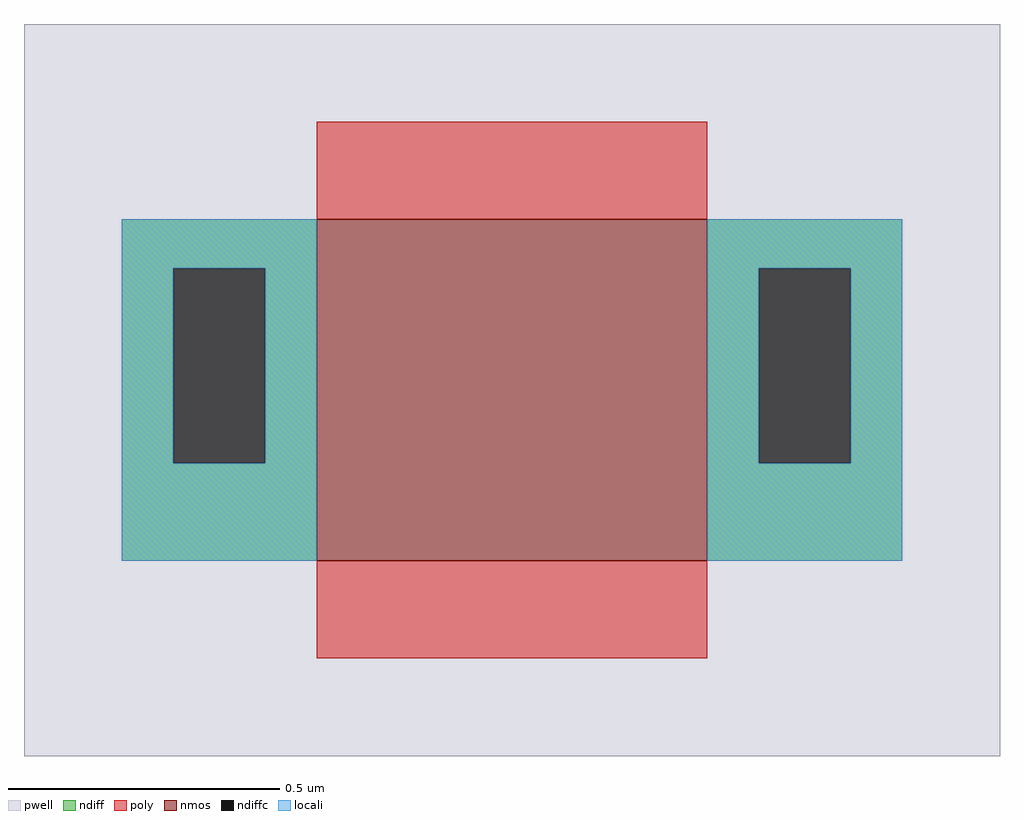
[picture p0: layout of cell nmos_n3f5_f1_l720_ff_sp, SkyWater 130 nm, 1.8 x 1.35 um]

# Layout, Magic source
magic
tech sky130A
magscale 1 2
<< pwell >>
rect -72 -72 288 198
<< nmos >>
rect 36 0 180 126
<< ndiff >>
rect -36 108 36 126
rect -36 36 -17 108
rect 17 36 36 108
rect -36 0 36 36
rect 180 108 252 126
rect 180 36 199 108
rect 233 36 252 108
rect 180 0 252 36
<< ndiffc >>
rect -17 36 17 108
rect 199 36 233 108
<< poly >>
rect 36 126 180 162
rect 36 -36 180 0
<< locali >>
rect -36 108 36 126
rect -36 36 -17 108
rect 17 36 36 108
rect -36 0 36 36
rect 180 108 252 126
rect 180 36 199 108
rect 233 36 252 108
rect 180 0 252 36
<< end >>
